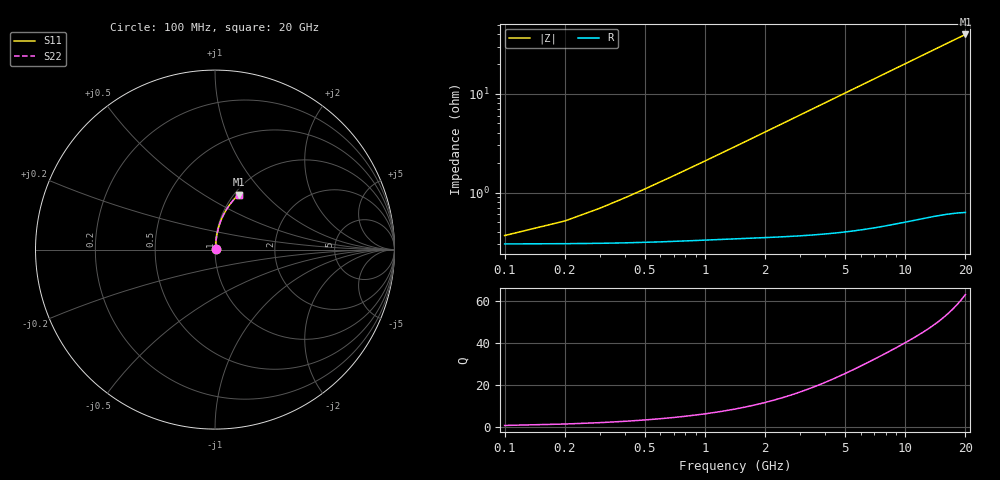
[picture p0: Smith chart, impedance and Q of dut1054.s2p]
! Touchstone file exported from HFSS 2024.1.0
!  File:  C:/UserFiles/LocalFiles/RDL_TSV_Batchsim/temp_RDL_bottom_1054_1780052084.aedt
!  Generated:  06:57:18 PM May 29, 2026
!  Design:  RDL_bottom
!  Project:  temp_RDL_bottom_1054_1780052084
!  Setup:  Setup1
!  Solution:  Sweep
! Variables:
!  dtsv = 10.80580581um
!  hbump = 3um
!  htsv = 51.09um
!  ldown = 231.37um
!  lrdl = 100um
!  p = 40
!  p1 = 58.4um
!  rhole = 1um
!  t = 450um
!  tdown = 2.69um
!  trdl = 3.915915916um
!  wdown = 10.74um
!  wrdl = 20um
# GHz S MA R 50.000000
! Terminal data exported
! Port[1] = RDL1_T1
! Port[2] = RDL1_T2
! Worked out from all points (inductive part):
!   200 points, 100 MHz to 20 GHz, reference 50 ohm
!   read as one part in series: L = 329 pH near 500 MHz
!   highest Q = 63.3 at 20 GHz (marker M1), where L = 317 pH
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0.1  0.003497 30.6  0.997 -0.1  0.997 -0.1  0.003497 30.6
! Gamma 0 0 0 0
! Port Impedance 50 0 50 0
0.3  0.006146 59.9  0.9969 -0.4  0.9969 -0.4  0.006146 59.9
0.4  0.00774 66.1  0.9969 -0.5  0.9969 -0.5  0.00774 66.1
0.5  0.009387 70.1  0.9968 -0.7  0.9968 -0.7  0.009387 70.1
0.6  0.01106 72.9  0.9967 -0.8  0.9967 -0.8  0.01106 72.9
0.8  0.01444 76.4  0.9966 -1.1  0.9966 -1.1  0.01444 76.4
1.1  0.01955 79.3  0.9963 -1.5  0.9963 -1.5  0.01955 79.3
1.3  0.02297 80.4  0.9962 -1.7  0.9962 -1.7  0.02297 80.4
1.5  0.0264 81.3  0.996 -2.0  0.996 -2.0  0.0264 81.3
1.8  0.03155 82.1  0.9956 -2.4  0.9956 -2.4  0.03155 82.1
2.1  0.03672 82.6  0.9953 -2.8  0.9953 -2.8  0.03672 82.6
2.7  0.04709 83.2  0.9944 -3.6  0.9944 -3.6  0.04709 83.2
3.5  0.06096 83.3  0.993 -4.6  0.993 -4.6  0.06096 83.3
4.2  0.07314 83.0  0.9915 -5.5  0.9915 -5.5  0.07314 83.0
5  0.08708 82.6  0.9895 -6.6  0.9895 -6.6  0.08708 82.6
5.9  0.1028 82.0  0.9869 -7.7  0.9869 -7.7  0.1028 82.0
6.8  0.1185 81.2  0.9841 -8.9  0.9841 -8.9  0.1185 81.2
8.3  0.1445 79.7  0.9788 -10.7  0.9788 -10.7  0.1445 79.7
10.1  0.1755 77.8  0.9717 -12.9  0.9717 -12.9  0.1755 77.8
13.4  0.2308 74.2  0.9567 -16.8  0.9567 -16.8  0.2308 74.2
16.7  0.2835 70.5  0.9397 -20.6  0.9397 -20.6  0.2835 70.5
20  0.3332 66.8  0.9211 -24.2  0.9211 -24.2  0.3332 66.8
